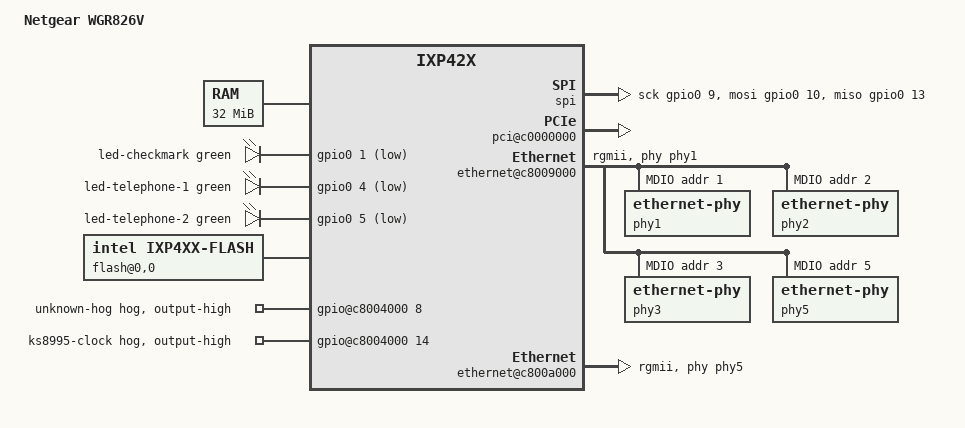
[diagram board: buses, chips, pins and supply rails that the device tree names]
// SPDX-License-Identifier: ISC
/*
 * Device Tree file for the IXP422-based Netgear WGR826V
 */

/dts-v1/;

#include "intel-ixp42x.dtsi"
#include <dt-bindings/input/input.h>
#include <dt-bindings/leds/common.h>

/ {
	model = "Netgear WGR826V";
	compatible = "netgear,wgr826v", "intel,ixp42x";
	#address-cells = <1>;
	#size-cells = <1>;

	memory@0 {
		/* 32 MB SDRAM according to boot arguments */
		device_type = "memory";
		reg = <0x00000000 0x02000000>;
	};

	chosen {
		bootargs = "console=ttyS0,115200n8";
		stdout-path = "uart1:115200n8";
	};

	aliases {
		/* These are switched around */
		serial0 = &uart1;
		serial1 = &uart0;
	};

	leds {
		compatible = "gpio-leds";
		led-checkmark {
			color = <LED_COLOR_ID_GREEN>;
			function = "checkmark";
			gpios = <&gpio0 1 GPIO_ACTIVE_LOW>;
			default-state = "on";
			linux,default-trigger = "heartbeat";
		};
		led-telephone-1 {
			color = <LED_COLOR_ID_GREEN>;
			function = "telephone1";
			gpios = <&gpio0 4 GPIO_ACTIVE_LOW>;
			default-state = "off";
		};
		led-telephone-2 {
			color = <LED_COLOR_ID_GREEN>;
			function = "telephone2";
			gpios = <&gpio0 5 GPIO_ACTIVE_LOW>;
			default-state = "off";
		};
	};

	gpio_keys {
		compatible = "gpio-keys";
		status = "disabled";

		button-reset {
			wakeup-source;
			linux,code = <KEY_RESTART>;
			label = "reset";
			gpios = <&gpio0 11 GPIO_ACTIVE_LOW>;
		};
	};

	spi {
		compatible = "spi-gpio";
		#address-cells = <1>;
		#size-cells = <0>;

		sck-gpios = <&gpio0 9 GPIO_ACTIVE_HIGH>;
		mosi-gpios = <&gpio0 10 GPIO_ACTIVE_HIGH>;
		miso-gpios = <&gpio0 13 GPIO_ACTIVE_HIGH>;
		cs-gpios = <&gpio0 7 GPIO_ACTIVE_LOW>;
		num-chipselects = <1>;

		switch@0 {
			compatible = "micrel,ks8995";
			reg = <0>;
			spi-max-frequency = <5000000>;
			reset-gpios = <&gpio0 12 GPIO_ACTIVE_LOW>;
			/*
			 * It appears that when Netgear integrated this
			 * switch, they intended it to be controlled over
			 * SPI as everything is connected, but they failed to
			 * provide a way to pull PS[1:0] to 10 to bring it
			 * into SPI mode. Maybe GPIO 8 was intended for this
			 * but it does not work. The KS8995 remains in EEPROM
			 * boot mode.
			 */
			status = "disabled";
		};
	};

	soc {
		bus@c4000000 {
			flash@0,0 {
				compatible = "intel,ixp4xx-flash", "cfi-flash";
				bank-width = <2>;
				/*
				 * 16 MB of Flash in 64 0x20000 sized blocks
				 * mapped in at CS0.
				 */
				reg = <0 0x00000000 0x1000000>;

				/* Configure expansion bus to allow writes */
				intel,ixp4xx-eb-write-enable = <1>;

				partitions {
					compatible = "redboot-fis";
					fis-index-block = <0x7f>;
				};
			};
		};

		pci@c0000000 {
			status = "okay";

			#interrupt-cells = <1>;
			interrupt-map-mask = <0xf800 0 0 7>;
			interrupt-map =
			/* IDSEL 1 */
			<0x0800 0 0 1 &gpio0 0 IRQ_TYPE_LEVEL_LOW>, /* INT A on slot 1 is irq 0 */
			<0x0800 0 0 2 &gpio0 0 IRQ_TYPE_LEVEL_LOW>, /* INT B on slot 1 is irq 0 */
			<0x0800 0 0 3 &gpio0 0 IRQ_TYPE_LEVEL_LOW>, /* INT C on slot 1 is irq 0 */
			<0x0800 0 0 4 &gpio0 0 IRQ_TYPE_LEVEL_LOW>, /* INT D on slot 1 is irq 0 */
			/* IDSEL 2 guess on IRQ */
			<0x1000 0 0 1 &gpio0 2 IRQ_TYPE_LEVEL_LOW>, /* INT A on slot 2 is irq 2 */
			<0x1000 0 0 2 &gpio0 2 IRQ_TYPE_LEVEL_LOW>, /* INT B on slot 2 is irq 2 */
			<0x1000 0 0 3 &gpio0 2 IRQ_TYPE_LEVEL_LOW>, /* INT C on slot 2 is irq 2 */
			<0x1000 0 0 4 &gpio0 2 IRQ_TYPE_LEVEL_LOW>; /* INT D on slot 2 is irq 2 */
		};

		gpio@c8004000 {
			/*
			 * GPIO 0 is some kind of IRQ | PCI IRQ likely
			 * GPIO 1 checkmark LED
			 * GPIO 2 is some kind of IRQ | PCI IRQ likely
			 * GPIO 3 is some kind of IRQ | PCI IRQ likely
			 * GPIO 4 phone1 LED
			 * GPIO 5 phone2 LED
			 * GPIO 6 is some kind of IRQ | PCI IRQ likely
			 * GPIO 7 goes to SPIS_N (CS)
			 * GPIO 8 pulled high ?
			 * GPIO 9 goes to SPIC/SCL SPI input clock
			 * GPIO 10 goes to SPID/SDA SPI serial data out
			 * GPIO 11 is RESET button
			 * GPIO 12 goes to RST_N
			 * GPIO 13 goes to SPIQ SPI serial data in
			 * GPIO 14 CLOCK OUT
			 * GPIO 15 CLOCK OUT
			 */

			/* Both clock outputs are used */
			intel,ixp4xx-gpio14-clkout;
			intel,ixp4xx-gpio15-clkout;

			unknown-hog {
				gpio-hog;
				gpios = <8 GPIO_ACTIVE_HIGH>;
				output-high;
				line-name = "unknown-hog";
			};
			clock-hog {
				gpio-hog;
				gpios = <14 GPIO_ACTIVE_HIGH>;
				output-high;
				line-name = "ks8995-clock";
			};
		};

		ethernet@c8009000 {
			status = "okay";
			queue-rx = <&qmgr 3>;
			queue-txready = <&qmgr 20>;
			phy-mode = "rgmii";
			phy-handle = <&phy1>;

			mdio {
				#address-cells = <1>;
				#size-cells = <0>;

				/* 1, 2, 3, 4 and 5 are ports on the KS8995 switch */
				phy1: ethernet-phy@1 {
					/* LAN3 */
					reg = <1>;
				};
				phy2: ethernet-phy@2 {
					/* LAN2 */
					reg = <2>;
				};
				phy3: ethernet-phy@3 {
					/* LAN1 */
					reg = <3>;
				};
				/* PHY4 is unused */
				phy5: ethernet-phy@5 {
					/* INTERNET */
					reg = <5>;
				};
			};
		};

		/* EthC */
		ethernet@c800a000 {
			status = "okay";
			queue-rx = <&qmgr 4>;
			queue-txready = <&qmgr 21>;
			phy-mode = "rgmii";
			phy-handle = <&phy5>;
		};
	};
};
